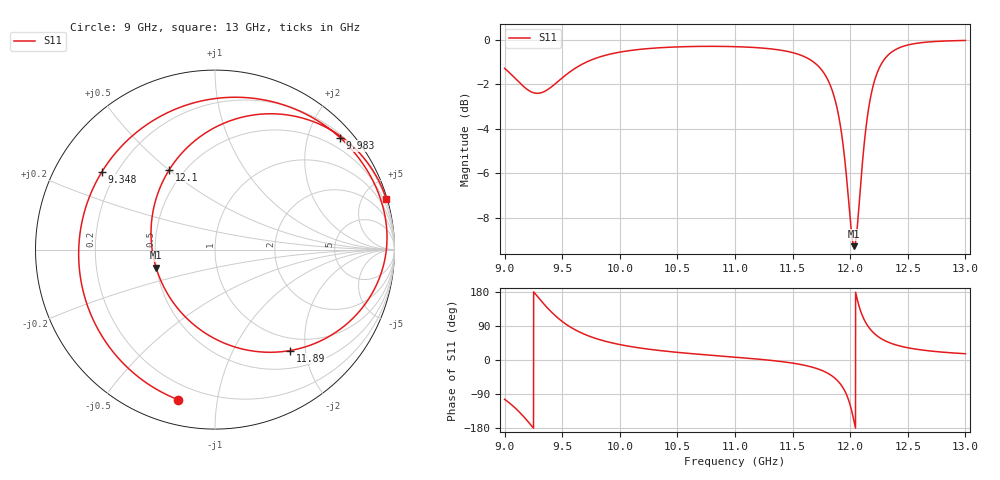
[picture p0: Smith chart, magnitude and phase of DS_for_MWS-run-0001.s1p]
! TOUCHSTONE file generated by CST DESIGN STUDIO
! Date and time: Tue Feb  4 17:49:29 2025
! Project name: C:\Work\MatlabApps\UnitCellOptimizationMatlab\CST\unitcell.cst
! Tree item: Tasks\Sweep1\SPara1\S-Parameters
! Header version: 2024
! Port assignment regex: !\s*Touchstone port\s*([0-9]+)\s*=\s*(CST MWS port|CST DES external port|CST DES block port)\s*(.+)\s* \(\"(.*)\"\)(\s*mode\s*([0-9]+))?.*
! Touchstone port assignment:
! Touchstone port 1 = CST DES external port 1 ("")
# GHz S MA R 50
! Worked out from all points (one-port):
!   4001 points, 9 GHz to 13 GHz, reference 50 ohm
!   lowest |S11| = -9.3 dB at 12.03 GHz (marker M1), VSWR 2.05, Z = 24.9 - j5.72 ohm
!   |S11| at or under -10 dB: nowhere
!   S11 on the Smith chart (normalised r, x): 9 GHz: 0.12, -0.78; 9.348 GHz: 0.15, +0.31; 9.983 GHz: 0.26, +2.60; 11.89 GHz: 0.78, -1.72; 12.1 GHz: 0.42, +0.50; 13 GHz: 0.11, +6.88
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9  0.8615 -103.7
9.098  0.8151 -128.4
9.201  0.7709 -161.8
9.273  0.7574 172.1
9.348  0.7649 145.4
9.423  0.7889 121.7
9.5  0.82 101.7
9.594  0.8556 82.8
9.719  0.8921 64.7
9.983  0.9353 41.8
10  0.937 40.7
10.5  0.9627 20.1
11  0.9639 7.5
11.5  0.9347 -8.2
11.741  0.8615 -25.9
11.82  0.7973 -37.5
11.886  0.7015 -53.3
11.949  0.5492 -79.3
12  0.3952 -119.3
12.034  0.3433 -162.8
12.067  0.3937 153.0
12.102  0.5132 119.7
12.152  0.6787 90.3
12.211  0.8079 69.4
12.267  0.8783 56.7
12.33  0.9234 47.0
12.5  0.9722 32.3
13  0.9953 16.5
